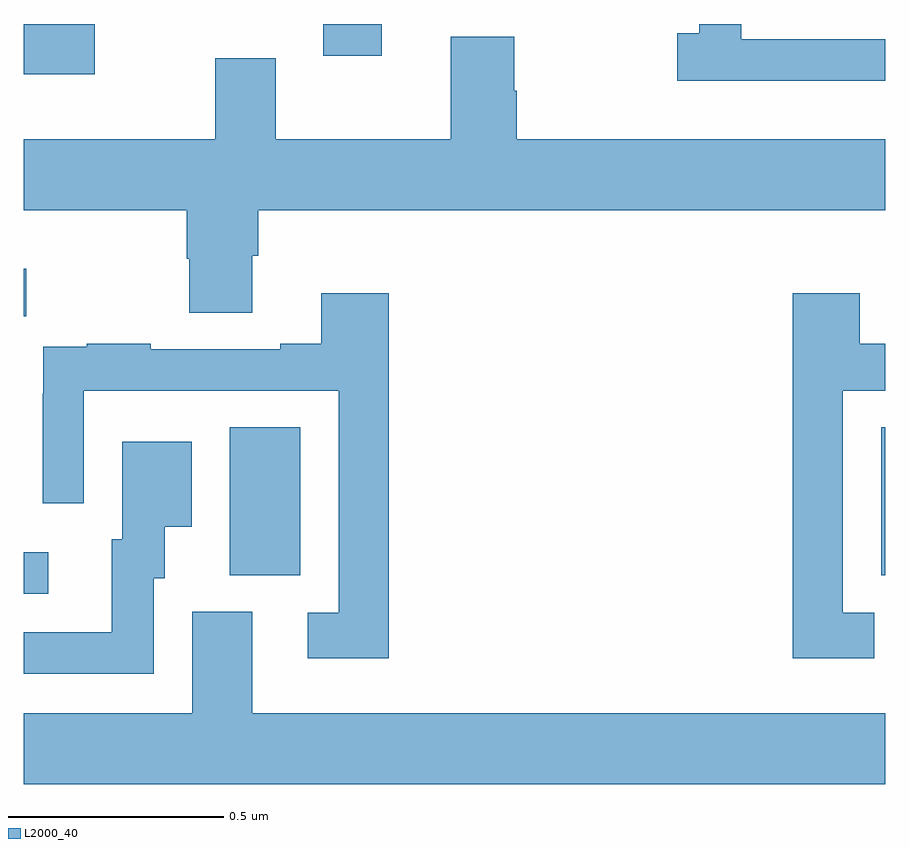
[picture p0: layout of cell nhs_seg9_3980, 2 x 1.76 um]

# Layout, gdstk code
import gdstk
lib = gdstk.Library(unit=1e-6, precision=1e-09)
def R(c, l, rs):  # rectangles x0, y0, x1, y1
    for r in rs: c.add(gdstk.rectangle(r[:2], r[2:], *l))
def P(c, l, *ps):  # polygons
    for p in ps: c.add(gdstk.Polygon(p, *l))
L2000_40 = (2000, 40)

nhs_seg9_3980 = lib.new_cell('nhs_seg9_3980')
R(nhs_seg9_3980, L2000_40, [(160,1214.178,160.057,1214.274), (160.478,1214.221,160.642,1214.564), (161.99,1214.221,162,1214.564), (160,1214.822,160.006,1214.932), (160,1215.383,160.165,1215.5), (160.695,1215.426,160.831,1215.5)])
P(nhs_seg9_3980, L2000_40, [(162,1215.465),(161.665,1215.465),(161.665,1215.5),(161.568,1215.5),(161.568,1215.478),(161.517,1215.478),(161.517,1215.368),(162,1215.368)],
  [(160.531,1214.962),(160.544,1214.962),(160.544,1215.068),(162,1215.068),(162,1215.232),(161.144,1215.232),(161.144,1215.345),(161.139,1215.345),(161.139,1215.47),(160.991,1215.47),(160.991,1215.232),(160.585,1215.232),(160.585,1215.42),(160.445,1215.42),(160.445,1215.232),(160,1215.232),(160,1215.068),(160.379,1215.068),(160.379,1214.955),(160.384,1214.955),(160.384,1214.83),(160.531,1214.83)],
  [(160.847,1214.875),(160.691,1214.875),(160.691,1214.758),(160.595,1214.758),(160.595,1214.745),(160.295,1214.745),(160.295,1214.758),(160.147,1214.758),(160.147,1214.751),(160.045,1214.751),(160.045,1214.642),(160.044,1214.642),(160.044,1214.388),(160.14,1214.388),(160.14,1214.649),(160.731,1214.649),(160.731,1214.133),(160.659,1214.133),(160.659,1214.028),(160.847,1214.028)],
  [(161.974,1214.133),(161.901,1214.133),(161.901,1214.649),(162,1214.649),(162,1214.758),(161.941,1214.758),(161.941,1214.875),(161.785,1214.875),(161.785,1214.028),(161.974,1214.028)],
  [(160.302,1214.214),(160.327,1214.214),(160.327,1214.333),(160.39,1214.333),(160.39,1214.53),(160.229,1214.53),(160.229,1214.304),(160.205,1214.304),(160.205,1214.088),(160,1214.088),(160,1213.992),(160.302,1213.992)],
  [(162,1213.9),(160.531,1213.9),(160.531,1214.136),(160.391,1214.136),(160.391,1213.9),(160,1213.9),(160,1213.736),(162,1213.736)])

lib.write_gds('nhs_seg9_3980.gds')
